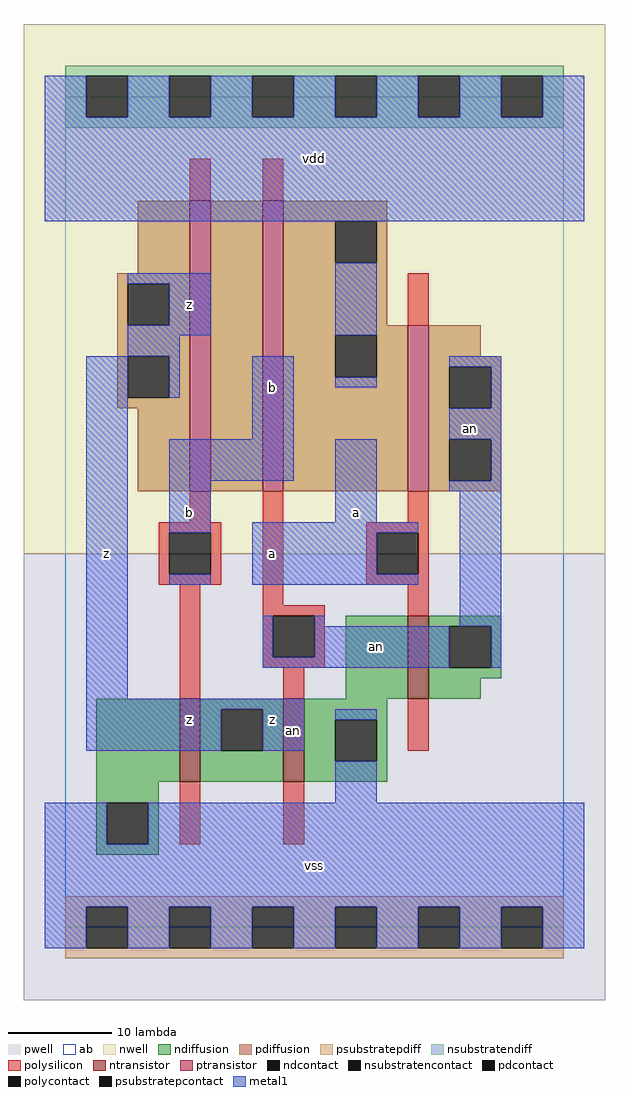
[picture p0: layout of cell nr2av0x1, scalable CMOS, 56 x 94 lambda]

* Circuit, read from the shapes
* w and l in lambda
.subckt nr2av0x1 a an b vdd vss z
M1 z b vss vss nfet w=8 l=2
M2 vss an z vss nfet w=8 l=2
M3 an a vss vss nfet w=8 l=2
M4 n1 b z vdd pfet w=28 l=2
M5 vdd an n1 vdd pfet w=28 l=2
M6 an a vdd vdd pfet w=16 l=2
.ends

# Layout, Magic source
magic
tech scmos
<< ab >>
rect 0 0 48 80
<< pwell >>
rect -4 -7 52 36
<< nwell >>
rect -4 36 52 87
<< polysilicon >>
rect 12 70 14 74
rect 19 70 21 74
rect 33 58 35 63
rect 12 39 14 42
rect 9 38 15 39
rect 9 34 10 38
rect 14 34 15 38
rect 9 33 15 34
rect 11 22 13 33
rect 19 31 21 42
rect 33 39 35 42
rect 29 38 35 39
rect 29 34 30 38
rect 34 34 35 38
rect 29 33 35 34
rect 19 30 25 31
rect 33 30 35 33
rect 19 26 20 30
rect 24 26 25 30
rect 19 25 25 26
rect 21 22 23 25
rect 33 17 35 22
rect 11 8 13 14
rect 21 8 23 14
<< ndiffusion >>
rect 27 22 33 30
rect 35 29 42 30
rect 35 25 37 29
rect 41 25 42 29
rect 35 24 42 25
rect 35 22 40 24
rect 3 14 11 22
rect 13 21 21 22
rect 13 17 15 21
rect 19 17 21 21
rect 13 14 21 17
rect 23 20 31 22
rect 23 16 26 20
rect 30 16 31 20
rect 23 14 31 16
rect 3 12 9 14
rect 3 8 4 12
rect 8 8 9 12
rect 3 7 9 8
<< pdiffusion >>
rect 7 63 12 70
rect 5 62 12 63
rect 5 58 6 62
rect 10 58 12 62
rect 5 55 12 58
rect 5 51 6 55
rect 10 51 12 55
rect 5 50 12 51
rect 7 42 12 50
rect 14 42 19 70
rect 21 68 31 70
rect 21 64 26 68
rect 30 64 31 68
rect 21 58 31 64
rect 21 57 33 58
rect 21 53 26 57
rect 30 53 33 57
rect 21 42 33 53
rect 35 55 40 58
rect 35 54 42 55
rect 35 50 37 54
rect 41 50 42 54
rect 35 47 42 50
rect 35 43 37 47
rect 41 43 42 47
rect 35 42 42 43
<< metal1 >>
rect -2 78 2 82
rect 6 78 10 82
rect 14 78 18 82
rect 22 78 26 82
rect 30 78 34 82
rect 38 78 42 82
rect 46 78 50 82
rect -2 68 50 78
rect 6 62 14 63
rect 10 58 14 62
rect 6 57 14 58
rect 26 57 30 64
rect 6 55 11 57
rect 2 22 6 55
rect 10 51 11 55
rect 18 47 22 55
rect 26 52 30 53
rect 37 54 42 55
rect 41 50 42 54
rect 37 47 42 50
rect 10 43 22 47
rect 10 38 14 43
rect 26 39 30 47
rect 41 43 42 47
rect 37 42 42 43
rect 10 33 14 34
rect 18 38 34 39
rect 18 34 30 38
rect 18 33 34 34
rect 19 26 20 30
rect 24 29 25 30
rect 38 29 42 42
rect 24 26 37 29
rect 19 25 37 26
rect 41 25 42 29
rect 2 21 23 22
rect 2 17 15 21
rect 19 17 23 21
rect 26 20 30 21
rect 26 12 30 16
rect -2 8 4 12
rect 8 8 50 12
rect -2 2 50 8
rect -2 -2 2 2
rect 6 -2 10 2
rect 14 -2 18 2
rect 22 -2 26 2
rect 30 -2 34 2
rect 38 -2 42 2
rect 46 -2 50 2
<< ntransistor >>
rect 33 22 35 30
rect 11 14 13 22
rect 21 14 23 22
<< ptransistor >>
rect 12 42 14 70
rect 19 42 21 70
rect 33 42 35 58
<< polycontact >>
rect 10 34 14 38
rect 30 34 34 38
rect 20 26 24 30
<< ndcontact >>
rect 37 25 41 29
rect 15 17 19 21
rect 26 16 30 20
rect 4 8 8 12
<< pdcontact >>
rect 6 58 10 62
rect 6 51 10 55
rect 26 64 30 68
rect 26 53 30 57
rect 37 50 41 54
rect 37 43 41 47
<< psubstratepcontact >>
rect 2 -2 6 2
rect 10 -2 14 2
rect 18 -2 22 2
rect 26 -2 30 2
rect 34 -2 38 2
rect 42 -2 46 2
<< nsubstratencontact >>
rect 2 78 6 82
rect 10 78 14 82
rect 18 78 22 82
rect 26 78 30 82
rect 34 78 38 82
rect 42 78 46 82
<< psubstratepdiff >>
rect 0 2 48 3
rect 0 -2 2 2
rect 6 -2 10 2
rect 14 -2 18 2
rect 22 -2 26 2
rect 30 -2 34 2
rect 38 -2 42 2
rect 46 -2 48 2
rect 0 -3 48 -2
<< nsubstratendiff >>
rect 0 82 48 83
rect 0 78 2 82
rect 6 78 10 82
rect 14 78 18 82
rect 22 78 26 82
rect 30 78 34 82
rect 38 78 42 82
rect 46 78 48 82
rect 0 77 48 78
<< labels >>
rlabel ntransistor 22 19 22 19 6 an
rlabel metal1 4 36 4 36 6 z
rlabel metal1 20 20 20 20 6 z
rlabel metal1 12 20 12 20 6 z
rlabel metal1 20 36 20 36 6 a
rlabel metal1 12 40 12 40 6 b
rlabel metal1 20 52 20 52 6 b
rlabel metal1 12 60 12 60 6 z
rlabel metal1 24 6 24 6 6 vss
rlabel metal1 28 40 28 40 6 a
rlabel metal1 24 74 24 74 6 vdd
rlabel metal1 30 27 30 27 6 an
rlabel metal1 39 48 39 48 6 an
<< end >>
